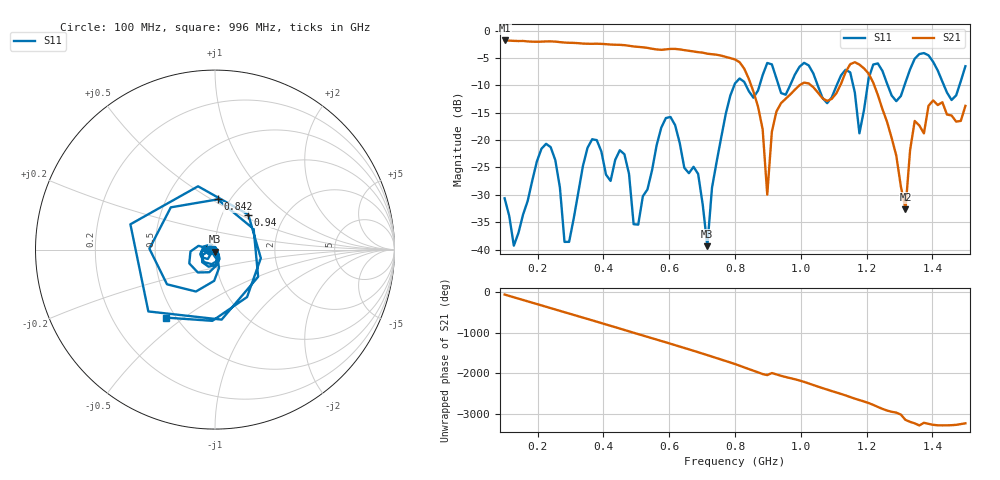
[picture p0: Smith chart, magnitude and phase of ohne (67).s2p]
! NanoVNA-App
! Date: 2025-09-26 09:55:55
! Start: 100MHz Stop: 1,5GHz Points: 101
! S-Parameter data: F S11 S21 S12 S22
# Hz S RI R 50
!  Frequency  S11_Real  S11_Imag  S21_Real  S21_Imag  S12_Real  S12_Imag  S22_Real  S22_Imag
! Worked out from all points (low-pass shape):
!   101 points, 100 MHz to 1.5 GHz, reference 50 ohm
!   highest |S21| = -1.79 dB at 100 MHz (marker M1); lowest = -32.6 dB at 1.318 GHz (marker M2)
!   |S21| within 3 dB of the highest: start of sweep to 771.8 MHz
!   lowest |S11| = -39.4 dB at 716 MHz (marker M3), VSWR 1.02, Z = 49.9 - j1.07 ohm
!   |S11| at or under -10 dB: start of sweep to 797.6 MHz; 833.3 MHz to 874.7 MHz (41.33 MHz wide, 4.84 % of centre); 1.051 GHz to 1.109 GHz (57.49 MHz wide, 5.32 % of centre)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
!   S12 and S22 are empty: the file has one direction only
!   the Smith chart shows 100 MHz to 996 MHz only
!   S11 on the Smith chart (normalised r, x): 100 MHz: 0.94, -0.01; 842 MHz: 0.88, +0.53; 940 MHz: 1.32, +0.56; 996 MHz: 0.44, -0.43
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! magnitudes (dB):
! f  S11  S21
! 100 MHz  -30.6  -1.8
! 128 MHz  -39.3  -1.9
! 226 MHz  -20.7  -2.0
! 296 MHz  -38.6  -2.2
! 338 MHz  -24.7  -2.4
! 464 MHz  -22.6  -2.6
! 506 MHz  -35.4  -3.0
! 576 MHz  -17.7  -3.5
! 716 MHz  -39.4  -4.2
! 800 MHz  -9.6  -5.3
! 842 MHz  -11.1  -8.8
! 898 MHz  -5.9  -30.0
! 940 MHz  -11.4  -13.2
! 996 MHz  -6.6  -10.0
! 1.038 GHz  -7.8  -10.3
! 1.15 GHz  -7.6  -6.1
! 1.178 GHz  -18.8  -6.2
! 1.22 GHz  -6.2  -9.5
! 1.276 GHz  -11.8  -19.6
! 1.318 GHz  -9.5  -32.6
! 1.346 GHz  -5.1  -16.5
! 1.5 GHz  -6.5  -13.7
